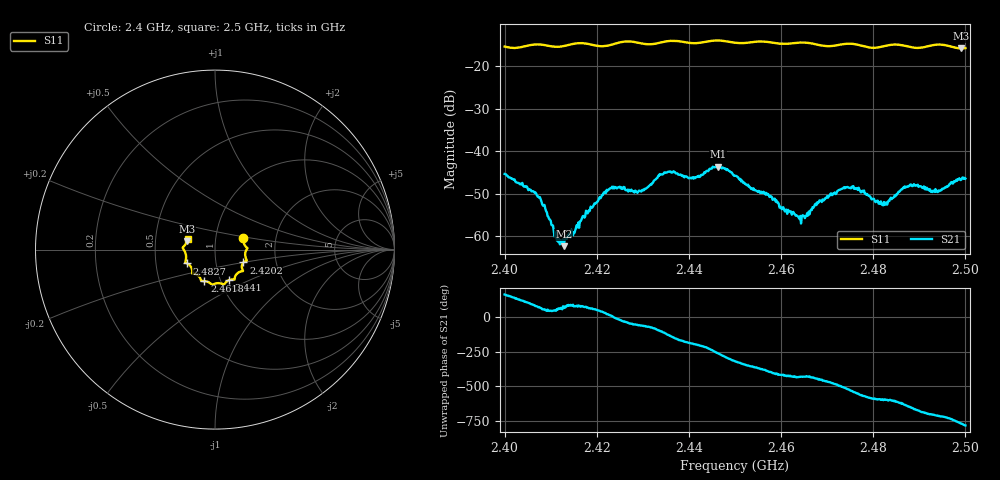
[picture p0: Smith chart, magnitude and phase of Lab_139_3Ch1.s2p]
# Hz S RI R 50
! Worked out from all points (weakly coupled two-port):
!   601 points, 2.4 GHz to 2.5 GHz, reference 50 ohm
!   highest |S21| = -43.61 dB at 2.4463 GHz (marker M1); lowest = -62.4 dB at 2.4128 GHz (marker M2)
!   lowest |S11| = -15.8 dB at 2.499 GHz (marker M3), VSWR 1.39, Z = 36.4 + j3.48 ohm
!   |S11| at or under -10 dB: start of sweep to end of sweep
!   S12 and S22 are empty: the file has one direction only
!   S11 on the Smith chart (normalised r, x): 2.4 GHz: 1.36, +0.18; 2.4202 GHz: 1.36, -0.20; 2.441 GHz: 1.10, -0.39; 2.4618 GHz: 0.84, -0.30; 2.4827 GHz: 0.72, -0.12; 2.5 GHz: 0.73, +0.09
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2.4e9  0.1585 0.063  -0.00514 0.00163  0 0  0 0
2.407167e9  0.1809 0.00846  0.0008 0.00281  0 0  0 0
2.411167e9  0.1687 -0.018  0.000778 0.000794  0 0  0 0
2.412833e9  0.169 -0.0374  0.000322 0.000689  0 0  0 0
2.416667e9  0.1772 -0.0609  0.000302 0.00153  0 0  0 0
2.420167e9  0.1585 -0.0713  0.00165 0.00193  0 0  0 0
2.4235e9  0.1499 -0.1023  0.00363 0.000192  0 0  0 0
2.43e9  0.1364 -0.1246  0.00163 -0.0031  0 0  0 0
2.433333e9  0.1114 -0.1508  -0.000481 -0.0051  0 0  0 0
2.441e9  0.0787 -0.1698  -0.00459 0.0012  0 0  0 0
2.446333e9  0.0491 -0.1953  -0.00102 0.00652  0 0  0 0
2.45e9  0.0285 -0.1873  0.00388 0.00339  0 0  0 0
2.461833e9  -0.0592 -0.1755  0.000777 -0.0018  0 0  0 0
2.464167e9  -0.0741 -0.1753  0.000557 -0.00163  0 0  0 0
2.466667e9  -0.0788 -0.1682  0.000475 -0.00197  0 0  0 0
2.474e9  -0.1252 -0.1344  -0.00336 -0.00168  0 0  0 0
2.482667e9  -0.1561 -0.0772  -0.00129 0.00205  0 0  0 0
2.483333e9  -0.1604 -0.0751  -0.00126 0.00229  0 0  0 0
2.487667e9  -0.1619 -0.053  0.00093 0.00375  0 0  0 0
2.494167e9  -0.1801 0.00962  0.00343 0.00039  0 0  0 0
2.499e9  -0.1555 0.0466  0.00308 -0.00336  0 0  0 0
2.5e9  -0.1522 0.0605  0.00225 -0.00419  0 0  0 0
